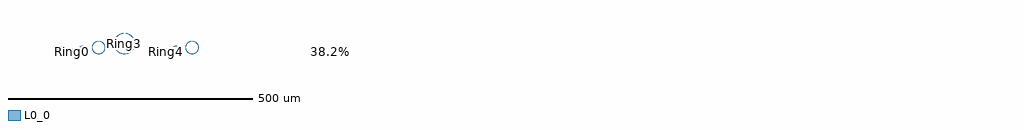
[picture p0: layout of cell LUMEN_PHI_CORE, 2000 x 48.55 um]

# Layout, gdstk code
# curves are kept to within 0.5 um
import gdstk
lib = gdstk.Library(unit=1e-6, precision=1e-09)
def R(c, l, rs):  # rectangles x0, y0, x1, y1
    for r in rs: c.add(gdstk.rectangle(r[:2], r[2:], *l))
def P(c, l, *ps):  # polygons
    for p in ps: c.add(gdstk.Polygon(p, *l))
L0_0 = (0, 0)

lumen_phi_core = lib.new_cell('LUMEN_PHI_CORE')
R(lumen_phi_core, L0_0, [(0,-10,2000,-9.5)])
P(lumen_phi_core, L0_0, [(105.25,-4.3),(105.149,-3.276),(104.85,-2.291),(104.365,-1.383),(103.712,-0.588),(102.917,0.065),(102.009,0.55),(101.024,0.849),(100,0.95),(98.976,0.849),(97.991,0.55),(97.083,0.065),(96.288,-0.588),(95.635,-1.383),(95.15,-2.291),(94.851,-3.276),(94.75,-4.3),(95.25,-4.3),(95.341,-3.373),(95.686,-2.311),(96.157,-1.508),(96.776,-0.812),(97.518,-0.25),(98.182,0.088),(99.073,0.359),(100,0.45),(100.927,0.359),(101.818,0.088),(102.482,-0.25),(103.224,-0.812),(103.843,-1.508),(104.314,-2.311),(104.659,-3.373),(104.75,-4.3)],
  [(94.75,-4.3),(94.851,-5.324),(95.15,-6.309),(95.635,-7.217),(96.288,-8.012),(97.083,-8.665),(97.991,-9.15),(98.976,-9.449),(100,-9.55),(101.024,-9.449),(102.009,-9.15),(102.917,-8.665),(103.712,-8.012),(104.365,-7.217),(104.85,-6.309),(105.149,-5.324),(105.25,-4.3),(104.75,-4.3),(104.659,-5.227),(104.314,-6.289),(103.843,-7.092),(103.224,-7.788),(102.482,-8.35),(101.818,-8.688),(100.927,-8.959),(100,-9.05),(99.073,-8.959),(98.182,-8.688),(97.518,-8.35),(96.776,-7.788),(96.157,-7.092),(95.686,-6.289),(95.341,-5.227),(95.25,-4.3)],
  [(128.566,-1.21),(128.5,-0.17),(128.306,0.854),(127.986,1.846),(127.544,2.79),(126.988,3.671),(126.327,4.477),(125.57,5.193),(124.508,5.947),(123.582,6.425),(122.353,6.855),(121.33,7.057),(120.291,7.13),(119.25,7.073),(118.225,6.887),(116.989,6.477),(116.055,6.013),(116.305,5.58),(117.41,6.107),(118.583,6.456),(119.797,6.619),(120.776,6.611),(122.461,6.305),(123.381,5.967),(124.251,5.518),(125.616,4.484),(126.284,3.767),(126.857,2.973),(127.327,2.113),(127.757,0.967),(127.97,0.011),(128.066,-1.21)],
  [(116.055,6.013),(115.187,5.437),(114.214,4.571),(113.54,3.776),(112.97,2.904),(112.514,1.967),(112.178,0.98),(111.968,-0.04),(111.886,-1.079),(111.935,-2.12),(112.113,-3.147),(112.418,-4.144),(112.97,-5.323),(113.54,-6.196),(114.214,-6.991),(115.187,-7.856),(116.055,-8.433),(116.305,-8),(115.296,-7.307),(114.574,-6.644),(113.797,-5.698),(113.288,-4.862),(112.66,-3.269),(112.463,-2.309),(112.386,-1.332),(112.432,-0.354),(112.6,0.611),(113.177,2.223),(113.797,3.279),(114.574,4.225),(115.296,4.887),(116.305,5.58)],
  [(116.055,-8.433),(116.989,-8.896),(117.973,-9.24),(119.25,-9.493),(120.291,-9.55),(121.33,-9.477),(122.604,-9.204),(123.582,-8.845),(124.508,-8.367),(125.57,-7.613),(126.327,-6.896),(126.988,-6.091),(127.544,-5.209),(127.986,-4.266),(128.306,-3.274),(128.5,-2.25),(128.566,-1.21),(128.066,-1.21),(127.97,-2.43),(127.757,-3.387),(127.327,-4.532),(126.857,-5.392),(126.284,-6.187),(125.616,-6.903),(124.251,-7.938),(123.381,-8.387),(122.461,-8.725),(120.776,-9.031),(119.552,-9.021),(118.583,-8.876),(117.41,-8.527),(116.305,-8)],
  [(166.291,3.79),(166.19,5.43),(165.804,7.362),(165.268,8.914),(164.545,10.389),(163.646,11.764),(162.585,13.018),(161.378,14.132),(159.763,15.26),(158.302,16.01),(156.443,16.665),(154.835,16.997),(153.197,17.128),(151.23,17.019),(149.617,16.707),(148.055,16.2),(146.281,15.343),(146.531,14.91),(147.946,15.615),(149.742,16.223),(151.609,16.56),(153.504,16.618),(155.077,16.453),(156.617,16.096),(158.101,15.552),(159.507,14.83),(160.814,13.941),(162.002,12.897),(163.053,11.716),(163.95,10.415),(164.681,9.013),(165.322,7.228),(165.694,5.368),(165.791,3.79)],
  [(146.281,15.343),(144.652,14.235),(143.431,13.136),(142.355,11.895),(141.439,10.531),(140.698,9.066),(140.143,7.52),(139.781,5.918),(139.612,3.955),(139.733,1.988),(140.055,0.377),(140.698,-1.485),(141.439,-2.951),(142.355,-4.315),(143.664,-5.787),(144.912,-6.856),(146.281,-7.763),(146.531,-7.33),(145.213,-6.457),(143.788,-5.205),(142.752,-4.011),(141.714,-2.423),(141.036,-0.995),(140.538,0.505),(140.228,2.055),(140.112,3.632),(140.19,5.211),(140.461,6.768),(140.922,8.281),(141.565,9.725),(142.38,11.079),(143.569,12.557),(144.963,13.843),(146.531,14.91)],
  [(146.281,-7.763),(147.751,-8.495),(149.617,-9.127),(151.23,-9.439),(153.197,-9.548),(154.835,-9.416),(156.443,-9.085),(158.302,-8.43),(159.763,-7.68),(161.121,-6.756),(162.355,-5.672),(163.646,-4.183),(164.545,-2.809),(165.268,-1.334),(165.888,0.536),(166.19,2.151),(166.291,3.79),(165.791,3.79),(165.694,2.212),(165.322,0.352),(164.806,-1.142),(163.95,-2.834),(163.053,-4.136),(162.002,-5.317),(160.814,-6.36),(159.507,-7.25),(158.101,-7.972),(156.617,-8.516),(155.077,-8.873),(153.504,-9.038),(151.609,-8.98),(149.742,-8.643),(148.239,-8.154),(146.531,-7.33)],
  [(227.332,11.88),(227.231,13.955),(226.93,16.01),(226.432,18.027),(225.74,19.985),(224.665,22.234),(223.575,24.001),(222.318,25.655),(220.908,27.18),(219.356,28.561),(217.678,29.785),(215.889,30.841),(214.007,31.719),(212.048,32.41),(210.032,32.909),(207.976,33.21),(205.902,33.311),(205.902,32.811),(207.953,32.71),(209.985,32.409),(212.37,31.786),(214.29,31.056),(216.129,30.142),(217.869,29.052),(219.18,28.06),(220.702,26.68),(222.081,25.158),(223.305,23.509),(224.361,21.747),(225.078,20.268),(225.808,18.348),(226.346,16.366),(226.687,14.34),(226.832,11.88)],
  [(205.902,33.311),(203.827,33.21),(201.772,32.909),(199.755,32.41),(197.797,31.719),(195.914,30.841),(194.126,29.785),(192.447,28.561),(190.896,27.18),(189.221,25.335),(187.997,23.657),(186.941,21.868),(186.063,19.985),(185.372,18.027),(184.873,16.01),(184.572,13.955),(184.471,11.88),(184.971,11.88),(185.116,14.34),(185.458,16.366),(185.996,18.348),(186.894,20.643),(187.844,22.464),(188.73,23.848),(189.986,25.474),(191.102,26.68),(192.624,28.06),(193.934,29.052),(195.318,29.938),(197.139,30.888),(199.434,31.786),(201.416,32.324),(203.442,32.666),(205.902,32.811)],
  [(184.471,11.88),(184.572,9.806),(184.873,7.75),(185.372,5.734),(186.063,3.775),(186.941,1.893),(187.997,0.104),(189.221,-1.574),(190.602,-3.126),(192.127,-4.536),(193.781,-5.793),(195.548,-6.883),(197.797,-7.958),(199.755,-8.65),(201.772,-9.148),(203.827,-9.449),(205.902,-9.55),(205.902,-9.05),(203.442,-8.905),(201.416,-8.564),(199.434,-8.026),(197.514,-7.296),(196.035,-6.579),(194.273,-5.523),(192.624,-4.299),(191.102,-2.92),(189.722,-1.398),(188.73,-0.087),(187.64,1.653),(186.894,3.118),(185.996,5.413),(185.458,7.395),(185.116,9.42),(184.971,11.88)],
  [(205.902,-9.55),(207.976,-9.449),(210.032,-9.148),(212.048,-8.65),(214.007,-7.958),(215.889,-7.08),(217.678,-6.024),(219.356,-4.8),(220.908,-3.419),(222.318,-1.895),(223.575,-0.241),(224.665,1.527),(225.74,3.775),(226.432,5.734),(226.93,7.75),(227.231,9.806),(227.332,11.88),(226.832,11.88),(226.687,9.42),(226.346,7.395),(225.808,5.413),(225.078,3.493),(224.361,2.014),(223.305,0.252),(222.081,-1.398),(220.702,-2.92),(219.18,-4.299),(217.53,-5.523),(215.768,-6.579),(214.29,-7.296),(212.37,-8.026),(210.387,-8.564),(208.362,-8.905),(205.902,-9.05)],
  [(296.828,-4.3),(296.727,-3.276),(296.428,-2.291),(295.943,-1.383),(295.29,-0.588),(294.495,0.065),(293.587,0.55),(292.602,0.849),(291.578,0.95),(290.554,0.849),(289.569,0.55),(288.661,0.065),(287.866,-0.588),(287.213,-1.383),(286.728,-2.291),(286.429,-3.276),(286.328,-4.3),(286.828,-4.3),(286.919,-3.373),(287.264,-2.311),(287.735,-1.508),(288.354,-0.812),(289.096,-0.25),(289.76,0.088),(290.651,0.359),(291.578,0.45),(292.505,0.359),(293.396,0.088),(294.06,-0.25),(294.802,-0.812),(295.421,-1.508),(295.892,-2.311),(296.237,-3.373),(296.328,-4.3)],
  [(286.328,-4.3),(286.429,-5.324),(286.728,-6.309),(287.213,-7.217),(287.866,-8.012),(288.661,-8.665),(289.569,-9.15),(290.554,-9.449),(291.578,-9.55),(292.602,-9.449),(293.587,-9.15),(294.495,-8.665),(295.29,-8.012),(295.943,-7.217),(296.428,-6.309),(296.727,-5.324),(296.828,-4.3),(296.328,-4.3),(296.237,-5.227),(295.892,-6.289),(295.421,-7.092),(294.802,-7.788),(294.06,-8.35),(293.396,-8.688),(292.505,-8.959),(291.578,-9.05),(290.651,-8.959),(289.76,-8.688),(289.096,-8.35),(288.354,-7.788),(287.735,-7.092),(287.264,-6.289),(286.919,-5.227),(286.828,-4.3)],
  [(320.144,-1.21),(320.078,-0.17),(319.884,0.854),(319.564,1.846),(319.122,2.79),(318.566,3.671),(317.904,4.477),(317.148,5.193),(316.086,5.947),(315.16,6.425),(313.93,6.855),(312.908,7.057),(311.869,7.13),(310.828,7.073),(309.803,6.887),(308.567,6.477),(307.633,6.013),(307.883,5.58),(308.988,6.107),(310.161,6.456),(311.375,6.619),(312.354,6.611),(314.039,6.305),(314.959,5.967),(315.829,5.518),(317.194,4.484),(317.862,3.767),(318.435,2.973),(318.905,2.113),(319.335,0.967),(319.548,0.011),(319.644,-1.21)],
  [(307.633,6.013),(306.765,5.437),(305.792,4.571),(305.118,3.776),(304.548,2.904),(304.092,1.967),(303.756,0.98),(303.546,-0.04),(303.464,-1.079),(303.513,-2.12),(303.691,-3.147),(303.996,-4.144),(304.548,-5.323),(305.118,-6.196),(305.792,-6.991),(306.765,-7.856),(307.633,-8.433),(307.883,-8),(306.874,-7.307),(306.152,-6.644),(305.375,-5.698),(304.866,-4.862),(304.238,-3.269),(304.041,-2.309),(303.964,-1.332),(304.01,-0.354),(304.178,0.611),(304.755,2.223),(305.375,3.279),(306.152,4.225),(306.874,4.887),(307.883,5.58)],
  [(307.633,-8.433),(308.567,-8.896),(309.551,-9.24),(310.828,-9.493),(311.869,-9.55),(312.908,-9.477),(314.182,-9.204),(315.16,-8.845),(316.086,-8.367),(316.945,-7.777),(317.724,-7.084),(318.566,-6.091),(319.122,-5.209),(319.564,-4.266),(319.884,-3.274),(320.078,-2.25),(320.144,-1.21),(319.644,-1.21),(319.548,-2.43),(319.335,-3.387),(318.905,-4.532),(318.435,-5.392),(317.862,-6.187),(317.194,-6.903),(315.829,-7.938),(314.959,-8.387),(314.039,-8.725),(312.354,-9.031),(311.13,-9.021),(310.161,-8.876),(308.988,-8.527),(307.883,-8)],
  [(357.869,3.79),(357.768,5.43),(357.382,7.362),(356.846,8.914),(356.123,10.389),(355.224,11.764),(354.163,13.018),(352.956,14.132),(351.341,15.26),(349.88,16.01),(348.021,16.665),(346.413,16.997),(344.775,17.128),(342.808,17.019),(341.195,16.707),(339.633,16.2),(337.859,15.343),(338.109,14.91),(339.524,15.615),(341.32,16.223),(343.187,16.56),(345.082,16.618),(346.655,16.453),(348.195,16.096),(349.679,15.552),(351.085,14.83),(352.392,13.941),(353.58,12.897),(354.631,11.716),(355.528,10.415),(356.259,9.013),(356.9,7.228),(357.272,5.368),(357.369,3.79)],
  [(337.859,15.343),(336.23,14.235),(335.009,13.136),(333.933,11.895),(333.017,10.531),(332.276,9.066),(331.721,7.52),(331.359,5.918),(331.19,3.955),(331.311,1.988),(331.633,0.377),(332.276,-1.485),(333.017,-2.951),(333.933,-4.315),(335.242,-5.787),(336.49,-6.856),(337.859,-7.763),(338.109,-7.33),(336.791,-6.457),(335.366,-5.205),(334.33,-4.011),(333.292,-2.423),(332.614,-0.995),(332.116,0.505),(331.806,2.055),(331.69,3.632),(331.768,5.211),(332.039,6.768),(332.499,8.281),(333.142,9.725),(333.958,11.079),(335.147,12.557),(336.541,13.843),(338.109,14.91)],
  [(337.859,-7.763),(339.329,-8.495),(341.195,-9.127),(342.808,-9.439),(344.775,-9.548),(346.413,-9.416),(348.021,-9.085),(349.88,-8.43),(351.341,-7.68),(352.699,-6.756),(353.933,-5.672),(355.224,-4.183),(356.123,-2.809),(356.846,-1.334),(357.466,0.536),(357.768,2.151),(357.869,3.79),(357.369,3.79),(357.272,2.212),(356.9,0.352),(356.384,-1.142),(355.528,-2.834),(354.631,-4.136),(353.58,-5.317),(352.392,-6.36),(351.085,-7.25),(349.679,-7.972),(348.195,-8.516),(346.655,-8.873),(345.082,-9.038),(343.187,-8.98),(341.32,-8.643),(339.817,-8.154),(338.109,-7.33)],
  [(597.48,-9.75),(597.48,-10.25),(607.51,-10.25),(627.54,-5.243),(627.419,-4.757),(607.449,-9.75)],
  [(597.48,-9.75),(597.48,-10.25),(607.449,-10.25),(627.419,-15.243),(627.54,-14.757),(607.51,-9.75)])
lumen_phi_core.add(gdstk.Label('Ring0', (100,-4.3), layer=10, texttype=0))
lumen_phi_core.add(gdstk.Label('Ring1', (120.225,-1.21), layer=10, texttype=0))
lumen_phi_core.add(gdstk.Label('Ring2', (152.951,3.79), layer=10, texttype=0))
lumen_phi_core.add(gdstk.Label('Ring3', (205.902,11.88), layer=10, texttype=0))
lumen_phi_core.add(gdstk.Label('Ring4', (291.578,-4.3), layer=10, texttype=0))
lumen_phi_core.add(gdstk.Label('Ring5', (311.803,-1.21), layer=10, texttype=0))
lumen_phi_core.add(gdstk.Label('Ring6', (344.529,3.79), layer=10, texttype=0))
lumen_phi_core.add(gdstk.Label('38.2%', (627.48,-5), layer=10, texttype=0))
lumen_phi_core.add(gdstk.Label('61.8%', (627.48,-15), layer=10, texttype=0))

lib.write_gds('LUMEN_PHI_CORE.gds')
